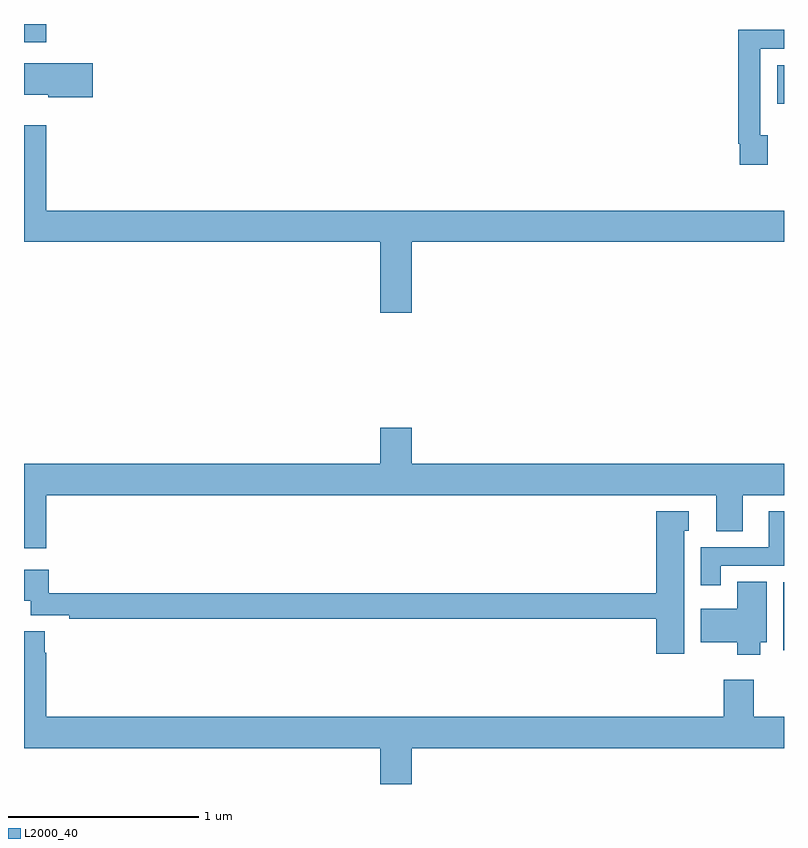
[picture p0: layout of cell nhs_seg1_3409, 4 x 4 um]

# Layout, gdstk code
import gdstk
lib = gdstk.Library(unit=1e-6, precision=1e-09)
def R(c, l, rs):  # rectangles x0, y0, x1, y1
    for r in rs: c.add(gdstk.rectangle(r[:2], r[2:], *l))
def P(c, l, *ps):  # polygons
    for p in ps: c.add(gdstk.Polygon(p, *l))
L2000_40 = (2000, 40)

nhs_seg1_3409 = lib.new_cell('nhs_seg1_3409')
R(nhs_seg1_3409, L2000_40, [(298.997,562.902,299,563.26), (298.964,565.778,299,565.981), (295,566.103,295.117,566.199)])
P(nhs_seg1_3409, L2000_40, [(298.915,565.614),(298.875,565.614),(298.875,566.07),(299,566.07),(299,566.168),(298.759,566.168),(298.759,565.57),(298.767,565.57),(298.767,565.458),(298.915,565.458)],
  [(295.363,565.992),(295,565.992),(295,565.826),(295.128,565.826),(295.128,565.814),(295.363,565.814)],
  [(297.04,565.052),(299,565.052),(299,565.216),(295.117,565.216),(295.117,565.666),(295,565.666),(295,565.052),(296.876,565.052),(296.876,564.678),(297.04,564.678)],
  [(295.117,563.72),(298.643,563.72),(298.643,563.53),(298.783,563.53),(298.783,563.72),(299,563.72),(299,563.884),(297.04,563.884),(297.04,564.073),(296.876,564.073),(296.876,563.884),(295,563.884),(295,563.439),(295.117,563.439)],
  [(298.474,563.532),(298.498,563.532),(298.498,563.635),(298.328,563.635),(298.328,563.204),(295.131,563.204),(295.131,563.326),(295,563.326),(295,563.163),(295.035,563.163),(295.035,563.088),(295.238,563.088),(295.238,563.068),(298.328,563.068),(298.328,562.884),(298.474,562.884)],
  [(298.666,563.349),(299,563.349),(299,563.635),(298.919,563.635),(298.919,563.445),(298.562,563.445),(298.562,563.244),(298.666,563.244)],
  [(298.876,562.946),(298.909,562.946),(298.909,563.264),(298.754,563.264),(298.754,563.122),(298.562,563.122),(298.562,562.946),(298.754,562.946),(298.754,562.88),(298.876,562.88)],
  [(297.04,562.388),(299,562.388),(299,562.552),(298.842,562.552),(298.842,562.747),(298.682,562.747),(298.682,562.552),(295.117,562.552),(295.117,562.889),(295.108,562.889),(295.108,563.002),(295,563.002),(295,562.388),(296.876,562.388),(296.876,562.199),(297.04,562.199)])

lib.write_gds('nhs_seg1_3409.gds')
